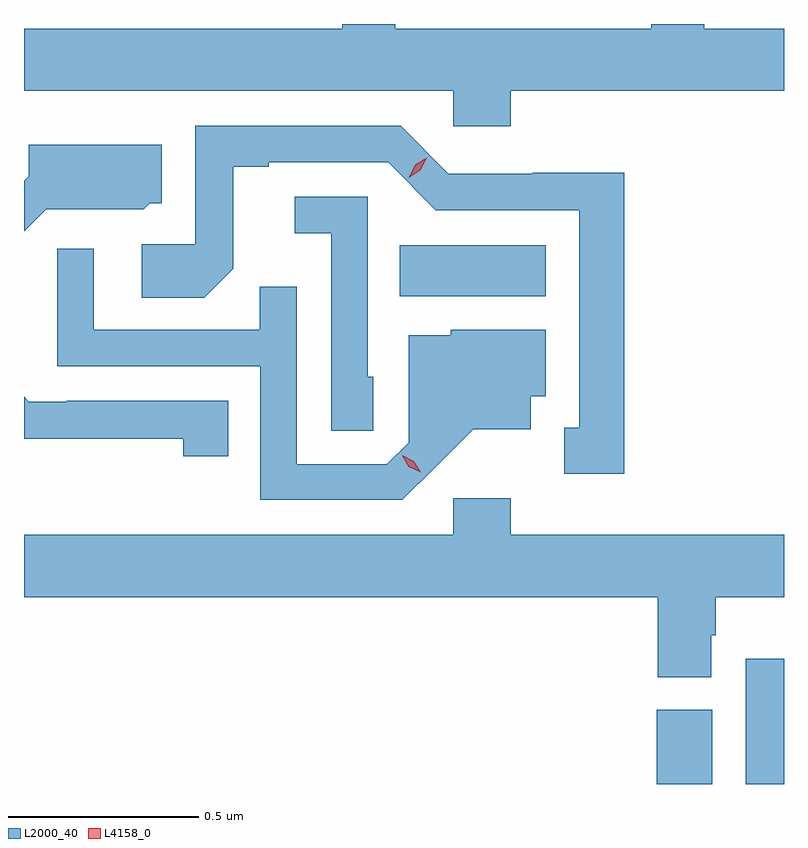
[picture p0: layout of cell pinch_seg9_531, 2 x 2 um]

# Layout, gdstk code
import gdstk
lib = gdstk.Library(unit=1e-6, precision=1e-09)
def R(c, l, rs):  # rectangles x0, y0, x1, y1
    for r in rs: c.add(gdstk.rectangle(r[:2], r[2:], *l))
def P(c, l, *ps):  # polygons
    for p in ps: c.add(gdstk.Polygon(p, *l))
L2000_40 = (2000, 40)
L4158_0 = (4158, 0)

pinch_seg9_531 = lib.new_cell('pinch_seg9_531')
R(pinch_seg9_531, L2000_40, [(275.462,1195.928,275.608,1196.124), (275.696,1195.928,275.797,1196.257), (274.786,1197.212,275.17,1197.346)])
P(pinch_seg9_531, L2000_40, [(275.078,1197.752),(275.797,1197.752),(275.797,1197.916),(275.587,1197.916),(275.587,1197.928),(275.447,1197.928),(275.447,1197.916),(274.774,1197.916),(274.774,1197.928),(274.635,1197.928),(274.635,1197.916),(273.797,1197.916),(273.797,1197.752),(274.926,1197.752),(274.926,1197.659),(275.078,1197.659)],
  [(275.377,1197.536),(275.136,1197.536),(275.136,1197.534),(274.914,1197.534),(274.788,1197.66),(274.248,1197.66),(274.248,1197.348),(274.107,1197.348),(274.107,1197.208),(274.271,1197.208),(274.347,1197.284),(274.347,1197.552),(274.441,1197.552),(274.441,1197.564),(274.755,1197.564),(274.881,1197.438),(275.258,1197.438),(275.258,1196.865),(275.219,1196.865),(275.219,1196.745),(275.377,1196.745)],
  [(273.855,1197.441),(273.978,1197.441),(273.978,1197.44),(274.112,1197.44),(274.128,1197.456),(274.159,1197.456),(274.159,1197.61),(273.809,1197.61),(273.809,1197.528),(273.797,1197.516),(273.797,1197.383)],
  [(274.716,1197),(274.701,1197),(274.701,1197.474),(274.509,1197.474),(274.509,1197.377),(274.605,1197.377),(274.605,1196.857),(274.716,1196.857)],
  [(274.876,1196.759),(274.979,1196.861),(275.131,1196.861),(275.131,1196.948),(275.17,1196.948),(275.17,1197.124),(274.92,1197.124),(274.92,1197.109),(274.809,1197.109),(274.809,1196.826),(274.752,1196.769),(274.515,1196.769),(274.515,1197.236),(274.417,1197.236),(274.417,1197.123),(273.981,1197.123),(273.981,1197.337),(273.885,1197.337),(273.885,1197.027),(274.419,1197.027),(274.419,1196.676),(274.792,1196.676)],
  [(274.334,1196.937),(273.91,1196.937),(273.91,1196.934),(273.81,1196.934),(273.797,1196.947),(273.797,1196.837),(273.859,1196.837),(273.859,1196.836),(274.216,1196.836),(274.216,1196.79),(274.334,1196.79)],
  [(275.605,1196.319),(275.618,1196.319),(275.618,1196.42),(275.797,1196.42),(275.797,1196.584),(275.078,1196.584),(275.078,1196.68),(274.926,1196.68),(274.926,1196.584),(273.797,1196.584),(273.797,1196.42),(275.465,1196.42),(275.465,1196.209),(275.605,1196.209)])
P(pinch_seg9_531, L4158_0, [(274.809,1197.524),(274.809,1197.524),(274.826,1197.557),(274.857,1197.576),(274.857,1197.576),(274.857,1197.576),(274.84,1197.543),(274.809,1197.524)],
  [(274.841,1196.749),(274.81,1196.763),(274.792,1196.792),(274.792,1196.793),(274.792,1196.793),(274.823,1196.778),(274.841,1196.749),(274.841,1196.749)])

lib.write_gds('pinch_seg9_531.gds')
